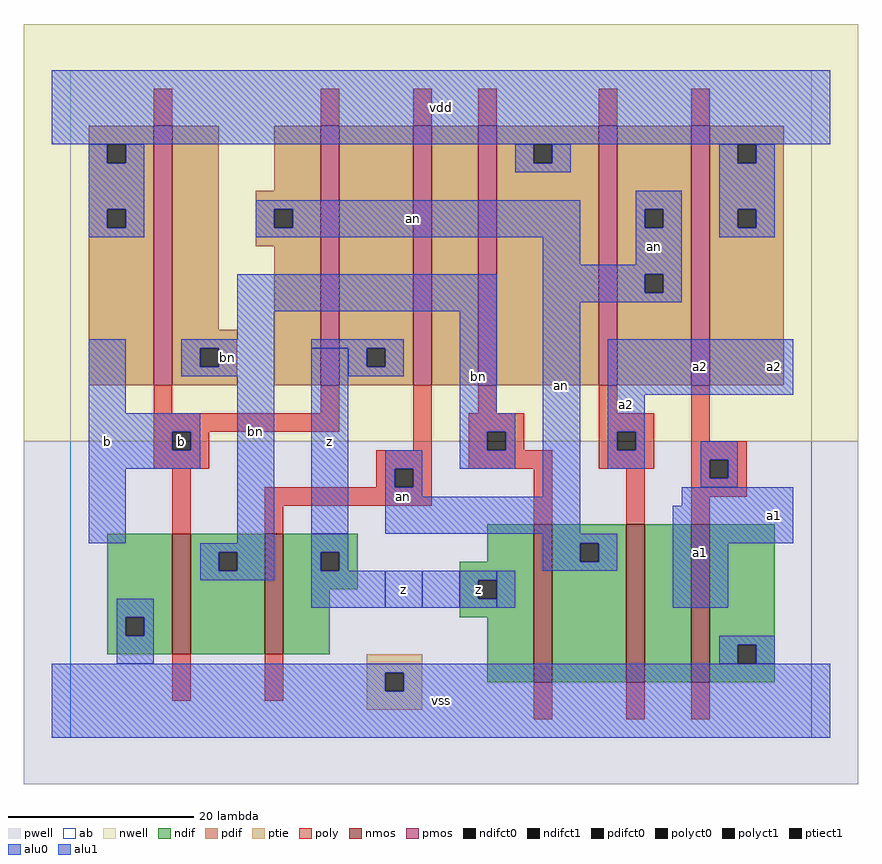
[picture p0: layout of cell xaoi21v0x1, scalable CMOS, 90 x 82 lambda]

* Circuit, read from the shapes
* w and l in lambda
.subckt xaoi21v0x1 a1 a2 an b bn vdd vss z
M1 bn b vss vss nfet w=13 l=2
M2 z an bn vss nfet w=13 l=2
M3 an bn z vss nfet w=17 l=2
M4 n1 a2 an vss nfet w=17 l=2
M5 vss a1 n1 vss nfet w=17 l=2
M6 bn b vdd n2 pfet w=28 l=2
M7 z b an n2 pfet w=28 l=2
M8 n3 an z n2 pfet w=28 l=2
M9 vdd bn n3 n2 pfet w=28 l=2
M10 an a2 vdd n2 pfet w=28 l=2
M11 vdd a1 an n2 pfet w=28 l=2
.ends

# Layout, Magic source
magic
tech scmos
<< ab >>
rect 0 0 80 72
<< nwell >>
rect -5 32 85 77
<< pwell >>
rect -5 -5 85 32
<< poly >>
rect 9 66 11 70
rect 27 66 29 70
rect 37 66 39 70
rect 44 66 46 70
rect 57 66 59 70
rect 67 66 69 70
rect 9 35 11 38
rect 27 35 29 38
rect 9 33 29 35
rect 9 31 11 33
rect 13 31 15 33
rect 37 31 39 38
rect 44 35 46 38
rect 57 35 59 38
rect 9 29 15 31
rect 33 29 39 31
rect 43 33 49 35
rect 43 31 45 33
rect 47 31 49 33
rect 57 33 63 35
rect 57 31 59 33
rect 61 31 63 33
rect 43 29 52 31
rect 57 29 63 31
rect 67 32 69 38
rect 67 30 73 32
rect 11 22 13 29
rect 33 27 35 29
rect 37 27 39 29
rect 21 25 39 27
rect 21 22 23 25
rect 50 23 52 29
rect 60 23 62 29
rect 67 28 69 30
rect 71 28 73 30
rect 67 26 73 28
rect 67 23 69 26
rect 11 4 13 9
rect 21 4 23 9
rect 50 2 52 6
rect 60 2 62 6
rect 67 2 69 6
<< ndif >>
rect 4 13 11 22
rect 4 11 6 13
rect 8 11 11 13
rect 4 9 11 11
rect 13 20 21 22
rect 13 18 16 20
rect 18 18 21 20
rect 13 9 21 18
rect 23 20 31 22
rect 23 18 27 20
rect 29 18 31 20
rect 45 19 50 23
rect 23 16 31 18
rect 42 17 50 19
rect 23 9 28 16
rect 42 15 44 17
rect 46 15 50 17
rect 42 13 50 15
rect 45 6 50 13
rect 52 21 60 23
rect 52 19 55 21
rect 57 19 60 21
rect 52 6 60 19
rect 62 6 67 23
rect 69 10 76 23
rect 69 8 72 10
rect 74 8 76 10
rect 69 6 76 8
<< pdif >>
rect 2 64 9 66
rect 2 62 4 64
rect 6 62 9 64
rect 2 57 9 62
rect 2 55 4 57
rect 6 55 9 57
rect 2 38 9 55
rect 11 44 16 66
rect 22 59 27 66
rect 20 57 27 59
rect 20 55 22 57
rect 24 55 27 57
rect 20 53 27 55
rect 11 42 18 44
rect 11 40 14 42
rect 16 40 18 42
rect 11 38 18 40
rect 22 38 27 53
rect 29 42 37 66
rect 29 40 32 42
rect 34 40 37 42
rect 29 38 37 40
rect 39 38 44 66
rect 46 64 57 66
rect 46 62 50 64
rect 52 62 57 64
rect 46 38 57 62
rect 59 57 67 66
rect 59 55 62 57
rect 64 55 67 57
rect 59 50 67 55
rect 59 48 62 50
rect 64 48 67 50
rect 59 38 67 48
rect 69 64 77 66
rect 69 62 72 64
rect 74 62 77 64
rect 69 57 77 62
rect 69 55 72 57
rect 74 55 77 57
rect 69 38 77 55
<< alu1 >>
rect -2 64 82 72
rect 2 35 6 43
rect 2 33 14 35
rect 2 31 11 33
rect 13 31 14 33
rect 2 29 14 31
rect 2 21 6 29
rect 26 22 30 42
rect 58 37 78 43
rect 58 33 62 37
rect 58 31 59 33
rect 61 31 62 33
rect 58 29 62 31
rect 66 25 78 27
rect 65 21 78 25
rect 34 14 38 18
rect 42 17 46 18
rect 42 15 44 17
rect 42 14 46 15
rect 65 14 71 21
rect -2 7 82 8
rect -2 5 34 7
rect 36 5 82 7
rect -2 0 82 5
<< ptie >>
rect 32 7 38 9
rect 32 5 34 7
rect 36 5 38 7
rect 32 3 38 5
<< nmos >>
rect 11 9 13 22
rect 21 9 23 22
rect 50 6 52 23
rect 60 6 62 23
rect 67 6 69 23
<< pmos >>
rect 9 38 11 66
rect 27 38 29 66
rect 37 38 39 66
rect 44 38 46 66
rect 57 38 59 66
rect 67 38 69 66
<< polyct0 >>
rect 45 31 47 33
rect 35 27 37 29
rect 69 28 71 30
<< polyct1 >>
rect 11 31 13 33
rect 59 31 61 33
<< ndifct0 >>
rect 6 11 8 13
rect 16 18 18 20
rect 27 18 29 20
rect 55 19 57 21
rect 72 8 74 10
<< ndifct1 >>
rect 44 15 46 17
<< ptiect1 >>
rect 34 5 36 7
<< pdifct0 >>
rect 4 62 6 64
rect 4 55 6 57
rect 22 55 24 57
rect 14 40 16 42
rect 32 40 34 42
rect 50 62 52 64
rect 62 55 64 57
rect 62 48 64 50
rect 72 62 74 64
rect 72 55 74 57
<< alu0 >>
rect 2 62 4 64
rect 6 62 8 64
rect 2 57 8 62
rect 48 62 50 64
rect 52 62 54 64
rect 48 61 54 62
rect 70 62 72 64
rect 74 62 76 64
rect 2 55 4 57
rect 6 55 8 57
rect 2 54 8 55
rect 20 57 55 58
rect 20 55 22 57
rect 24 55 55 57
rect 20 54 55 55
rect 51 51 55 54
rect 61 57 66 59
rect 61 55 62 57
rect 64 55 66 57
rect 61 51 66 55
rect 70 57 76 62
rect 70 55 72 57
rect 74 55 76 57
rect 70 54 76 55
rect 51 50 66 51
rect 18 46 46 50
rect 18 43 22 46
rect 12 42 22 43
rect 12 40 14 42
rect 16 40 22 42
rect 12 39 22 40
rect 18 21 22 39
rect 14 20 22 21
rect 14 18 16 20
rect 18 18 22 20
rect 14 17 22 18
rect 26 42 36 43
rect 30 40 32 42
rect 34 40 36 42
rect 30 39 36 40
rect 42 35 46 46
rect 51 48 62 50
rect 64 48 66 50
rect 51 47 66 48
rect 42 33 48 35
rect 42 31 45 33
rect 47 31 48 33
rect 34 29 38 31
rect 42 29 48 31
rect 34 27 35 29
rect 37 27 38 29
rect 34 26 38 27
rect 51 26 55 47
rect 68 30 72 32
rect 68 28 69 30
rect 71 28 72 30
rect 68 27 72 28
rect 34 22 55 26
rect 26 20 30 22
rect 26 18 27 20
rect 29 18 30 20
rect 51 21 59 22
rect 51 19 55 21
rect 57 19 59 21
rect 51 18 59 19
rect 5 13 9 15
rect 26 14 34 18
rect 38 14 42 18
rect 46 14 48 18
rect 5 11 6 13
rect 8 11 9 13
rect 5 8 9 11
rect 70 10 76 11
rect 70 8 72 10
rect 74 8 76 10
<< labels >>
rlabel alu0 36 26 36 26 6 an
rlabel alu0 20 33 20 33 6 bn
rlabel alu0 17 41 17 41 6 bn
rlabel alu0 44 39 44 39 6 bn
rlabel alu0 37 56 37 56 6 an
rlabel alu0 53 38 53 38 6 an
rlabel alu0 63 53 63 53 6 an
rlabel alu1 4 32 4 32 6 b
rlabel polyct1 12 32 12 32 6 b
rlabel alu1 36 16 36 16 6 z
rlabel alu1 28 32 28 32 6 z
rlabel alu1 40 4 40 4 6 vss
rlabel alu1 44 16 44 16 6 z
rlabel alu1 40 68 40 68 6 vdd
rlabel alu1 68 20 68 20 6 a1
rlabel alu1 76 24 76 24 6 a1
rlabel alu1 68 40 68 40 6 a2
rlabel alu1 76 40 76 40 6 a2
rlabel alu1 60 36 60 36 6 a2
<< end >>
